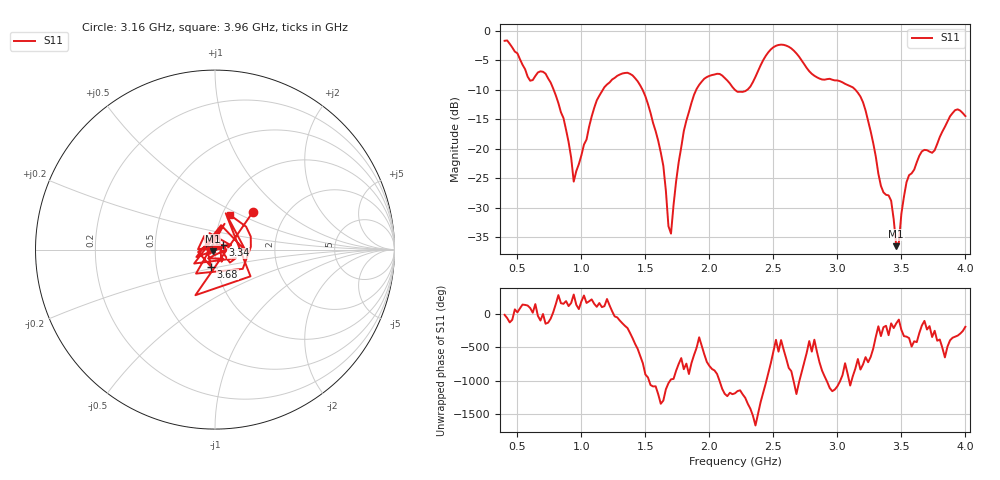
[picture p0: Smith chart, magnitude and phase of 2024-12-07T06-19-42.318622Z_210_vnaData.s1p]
!Created with skrf (http://scikit-rf.org).
# Hz S RI R 50.0
!freq ReS11 ImS11
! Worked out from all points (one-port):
!   181 points, 400 MHz to 4 GHz, reference 50 ohm
!   lowest |S11| = -36.5 dB at 3.46 GHz (marker M1), VSWR 1.03, Z = 48.9 - j0.948 ohm
!   |S11| at or under -10 dB: 782.9 MHz to 1.168 GHz (385.2 MHz wide, 39.5 % of centre); 1.477 GHz to 1.898 GHz (420.4 MHz wide, 24.9 % of centre); 3.14 GHz to end of sweep (the widest 3 of 4)
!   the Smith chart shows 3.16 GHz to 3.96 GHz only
!   S11 on the Smith chart (normalised r, x): 3.16 GHz: 1.37, +0.63; 3.34 GHz: 1.09, +0.05; 3.68 GHz: 0.94, -0.18; 3.96 GHz: 1.09, +0.44
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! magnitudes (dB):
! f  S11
! 400 MHz  -1.7
! 600 MHz  -8.5
! 720 MHz  -7.3
! 860 MHz  -14.8
! 940 MHz  -25.6
! 1.12 GHz  -11.8
! 1.3 GHz  -7.4
! 1.52 GHz  -12.4
! 1.64 GHz  -22.9
! 1.68 GHz  -33.1
! 1.7 GHz  -34.4
! 1.76 GHz  -22.3
! 1.92 GHz  -9.2
! 2.08 GHz  -7.3
! 2.2 GHz  -10.0
! 2.3 GHz  -10.0
! 2.5 GHz  -2.8
! 2.66 GHz  -3.4
! 3.1 GHz  -9.4
! 3.16 GHz  -10.5
! 3.24 GHz  -15.3
! 3.34 GHz  -26.3
! 3.42 GHz  -28.8
! 3.46 GHz  -36.5
! 3.56 GHz  -24.5
! 3.68 GHz  -20.2
! 3.96 GHz  -13.6
! 4 GHz  -14.5
